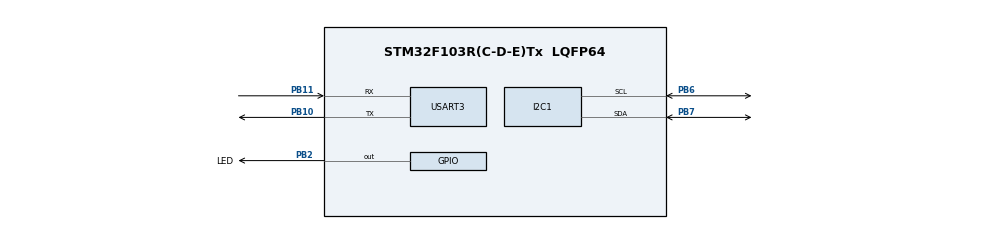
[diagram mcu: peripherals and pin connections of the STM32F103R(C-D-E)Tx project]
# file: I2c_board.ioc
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Mcu.Family=STM32F1
Mcu.Name=STM32F103R(C-D-E)Tx
Mcu.Package=LQFP64
NVIC.PriorityGroup=NVIC_PRIORITYGROUP_4
PB10.Mode=Asynchronous
PB10.Signal=USART3_TX
PB11.Mode=Asynchronous
PB11.Signal=USART3_RX
PB2.GPIO_Label=LED
PB2.PinState=GPIO_PIN_SET
PB2.Signal=GPIO_Output
PB6.Mode=I2C
PB6.Signal=I2C1_SCL
PB7.Mode=I2C
PB7.Signal=I2C1_SDA
PD0-OSC_IN.Mode=HSE-External-Oscillator
PD0-OSC_IN.Signal=RCC_OSC_IN
PD1-OSC_OUT.Mode=HSE-External-Oscillator
PD1-OSC_OUT.Signal=RCC_OSC_OUT
ProjectManager.HeapSize=0x200
ProjectManager.StackSize=0x400
ProjectManager.TargetToolchain=STM32CubeIDE
RCC.APB1Freq_Value=8000000
RCC.APB2Freq_Value=8000000
RCC.SYSCLKSource=RCC_SYSCLKSOURCE_HSE
USART3.VirtualMode=VM_ASYNC
VP_SYS_VS_ND.Mode=No_Debug
board=custom

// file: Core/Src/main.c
/* USER CODE BEGIN Header */
/**
  ******************************************************************************
  * @file           : main.c
  * @brief          : Main program body
  ******************************************************************************
  * @attention
  *
  * Copyright (c) 2026 STMicroelectronics.
  * All rights reserved.
  *
  * This software is licensed under terms that can be found in the LICENSE file
  * in the root directory of this software component.
  * If no LICENSE file comes with this software, it is provided AS-IS.
  *
  ******************************************************************************
  */
/* USER CODE END Header */
#include "main.h"

/* USER CODE BEGIN Includes */
#include "stdio.h"
/* USER CODE END Includes */

I2C_HandleTypeDef hi2c1;

UART_HandleTypeDef huart3;

/* USER CODE BEGIN PV */
// PCF8574 I2C Address (7-bit address shifted left 1 bit)
#define PCF_ADDRESS_1    (0x20 << 1)
#define PCF_ADDRESS_2    (0x24 << 1)
#define PCF_ADDRESS_3    (0x26 << 1)
#define PCF_ADDRESS_4    (0x27 << 1)

uint8_t PCF_Data[4];
/* USER CODE END PV */

void SystemClock_Config(void);
static void MX_GPIO_Init(void);
static void MX_I2C1_Init(void);
static void MX_USART3_UART_Init(void);
/* USER CODE BEGIN PFP */
void I2C_Scan(I2C_HandleTypeDef *hi2c);
/* USER CODE END PFP */

/* USER CODE BEGIN 0 */
int _write(int fd, char* ptr, int len) {
  HAL_StatusTypeDef hstatus;

  if (fd == 1 || fd == 2) {
	hstatus = HAL_UART_Transmit(&huart3, (uint8_t *) ptr, len, HAL_MAX_DELAY);
	if (hstatus == HAL_OK)
	  return len;
	else
	  return -1;
  }
  return -1;
}

#define PCF_COUNT 4

uint16_t PCF_Address[PCF_COUNT] =
{
    PCF_ADDRESS_1,
    PCF_ADDRESS_2,
    PCF_ADDRESS_3,
    PCF_ADDRESS_4
};

uint8_t PCF_Data[PCF_COUNT];

void PCF_Set_Input(void)
{
    uint8_t initData = 0xFF;

    for(uint8_t i = 0; i < PCF_COUNT; i++)
    {
        if(HAL_I2C_Master_Transmit(&hi2c1,
                                   PCF_Address[i],
                                   &initData,
                                   1,
                                   100) != HAL_OK)
        {
            printf("PCF%d INPUT INIT ERROR\r\n", i + 1);
        }

        HAL_Delay(100);
    }
}

void PCF_Read_All(void)
{
    for(uint8_t i = 0; i < PCF_COUNT; i++)
    {
        if(HAL_I2C_Master_Receive(&hi2c1,
                                  PCF_Address[i],
                                  &PCF_Data[i],
                                  1,
                                  100) != HAL_OK)
        {
            printf("PCF%d READ ERROR\r\n", i + 1);
        }
    }
}
/* USER CODE END 0 */

int main(void)
{

  /* MCU Configuration--------------------------------------------------------*/

  /* Reset of all peripherals, Initializes the Flash interface and the Systick. */
  HAL_Init();

  /* Configure the system clock */
  SystemClock_Config();

  /* Initialize all configured peripherals */
  MX_GPIO_Init();
  MX_I2C1_Init();
  MX_USART3_UART_Init();

  /* Infinite loop */
  /* USER CODE BEGIN WHILE */
  PCF_Set_Input();
  while (1)
  {
    /* USER CODE END WHILE */

    /* USER CODE BEGIN 3 */
	HAL_GPIO_TogglePin(LED_GPIO_Port, LED_Pin);
    PCF_Read_All();
    printf("SCAN PCF STARTING.......\r\n");
    printf("PCF1 = 0x%02X\r\n", PCF_Data[0]);
    printf("PCF2 = 0x%02X\r\n", PCF_Data[1]);
    printf("PCF3 = 0x%02X\r\n", PCF_Data[2]);
    printf("PCF4 = 0x%02X\r\n", PCF_Data[3]);

    HAL_Delay(1000);
  }
  /* USER CODE END 3 */
}

void SystemClock_Config(void)
{
  RCC_OscInitTypeDef RCC_OscInitStruct = {0};
  RCC_ClkInitTypeDef RCC_ClkInitStruct = {0};

  /** Initializes the RCC Oscillators according to the specified parameters
  * in the RCC_OscInitTypeDef structure.
  */
  RCC_OscInitStruct.OscillatorType = RCC_OSCILLATORTYPE_HSE;
  RCC_OscInitStruct.HSEState = RCC_HSE_ON;
  RCC_OscInitStruct.PLL.PLLState = RCC_PLL_NONE;
  if (HAL_RCC_OscConfig(&RCC_OscInitStruct) != HAL_OK)
  {
    Error_Handler();
  }

  /** Initializes the CPU, AHB and APB buses clocks
  */
  RCC_ClkInitStruct.ClockType = RCC_CLOCKTYPE_HCLK|RCC_CLOCKTYPE_SYSCLK
                              |RCC_CLOCKTYPE_PCLK1|RCC_CLOCKTYPE_PCLK2;
  RCC_ClkInitStruct.SYSCLKSource = RCC_SYSCLKSOURCE_HSE;
  RCC_ClkInitStruct.AHBCLKDivider = RCC_SYSCLK_DIV1;
  RCC_ClkInitStruct.APB1CLKDivider = RCC_HCLK_DIV1;
  RCC_ClkInitStruct.APB2CLKDivider = RCC_HCLK_DIV1;

  if (HAL_RCC_ClockConfig(&RCC_ClkInitStruct, FLASH_LATENCY_0) != HAL_OK)
  {
    Error_Handler();
  }
}

static void MX_I2C1_Init(void)
{

  hi2c1.Instance = I2C1;
  hi2c1.Init.ClockSpeed = 100000;
  hi2c1.Init.DutyCycle = I2C_DUTYCYCLE_2;
  hi2c1.Init.OwnAddress1 = 0;
  hi2c1.Init.AddressingMode = I2C_ADDRESSINGMODE_7BIT;
  hi2c1.Init.DualAddressMode = I2C_DUALADDRESS_DISABLE;
  hi2c1.Init.OwnAddress2 = 0;
  hi2c1.Init.GeneralCallMode = I2C_GENERALCALL_DISABLE;
  hi2c1.Init.NoStretchMode = I2C_NOSTRETCH_DISABLE;
  if (HAL_I2C_Init(&hi2c1) != HAL_OK)
  {
    Error_Handler();
  }

}

static void MX_USART3_UART_Init(void)
{

  huart3.Instance = USART3;
  huart3.Init.BaudRate = 115200;
  huart3.Init.WordLength = UART_WORDLENGTH_8B;
  huart3.Init.StopBits = UART_STOPBITS_1;
  huart3.Init.Parity = UART_PARITY_NONE;
  huart3.Init.Mode = UART_MODE_TX_RX;
  huart3.Init.HwFlowCtl = UART_HWCONTROL_NONE;
  huart3.Init.OverSampling = UART_OVERSAMPLING_16;
  if (HAL_UART_Init(&huart3) != HAL_OK)
  {
    Error_Handler();
  }

}

static void MX_GPIO_Init(void)
{
  GPIO_InitTypeDef GPIO_InitStruct = {0};

  /* GPIO Ports Clock Enable */
  __HAL_RCC_GPIOD_CLK_ENABLE();
  __HAL_RCC_GPIOB_CLK_ENABLE();

  /*Configure GPIO pin Output Level */
  HAL_GPIO_WritePin(LED_GPIO_Port, LED_Pin, GPIO_PIN_SET);

  /*Configure GPIO pin : LED_Pin */
  GPIO_InitStruct.Pin = LED_Pin;
  GPIO_InitStruct.Mode = GPIO_MODE_OUTPUT_PP;
  GPIO_InitStruct.Pull = GPIO_NOPULL;
  GPIO_InitStruct.Speed = GPIO_SPEED_FREQ_LOW;
  HAL_GPIO_Init(LED_GPIO_Port, &GPIO_InitStruct);

}

void Error_Handler(void)
{
  __disable_irq();
  while (1)
  {
  }
}
